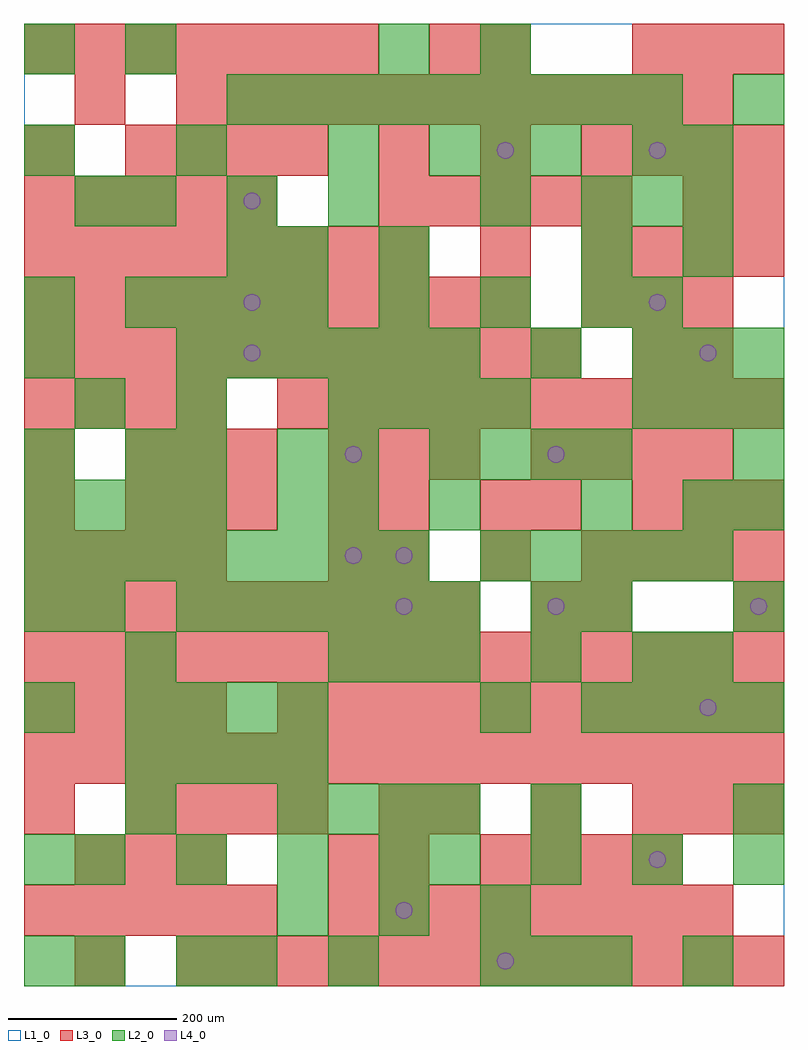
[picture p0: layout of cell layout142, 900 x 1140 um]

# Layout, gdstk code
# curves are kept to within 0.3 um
import gdstk
lib = gdstk.Library(unit=1e-6, precision=1e-09)
def R(c, l, rs):  # rectangles x0, y0, x1, y1
    for r in rs: c.add(gdstk.rectangle(r[:2], r[2:], *l))
def A(c, l, x, y, w, h, nx, ny, dx, dy):  # array of equal rectangles
    R(c, l, [(x+i*dx, y+j*dy, x+i*dx+w, y+j*dy+h) for i in range(nx) for j in range(ny)])
def P(c, l, *ps):  # polygons
    for p in ps: c.add(gdstk.Polygon(p, *l))
L1_0 = (1, 0)
L2_0 = (2, 0)
L3_0 = (3, 0)
L4_0 = (4, 0)

layout142 = lib.new_cell('layout142')
R(layout142, L1_0, [(0,0,900,1140)])
A(layout142, L2_0, 540, 0, 60, 60, 3, 1, 60, 0)
A(layout142, L2_0, 300, 60, 60, 60, 3, 1, 120, 0)
A(layout142, L2_0, 60, 120, 60, 60, 4, 1, 120, 0)
A(layout142, L2_0, 480, 120, 60, 60, 4, 1, 120, 0)
A(layout142, L2_0, 300, 180, 60, 60, 4, 1, 60, 0)
A(layout142, L2_0, 120, 240, 60, 60, 4, 2, 60, 60)
A(layout142, L2_0, 660, 300, 60, 60, 4, 1, 60, 0)
A(layout142, L2_0, 360, 360, 60, 60, 3, 1, 60, 0)
A(layout142, L2_0, 60, 420, 60, 60, 1, 3, 0, 240)
A(layout142, L2_0, 180, 420, 60, 60, 6, 2, 60, 300)
A(layout142, L2_0, 0, 480, 60, 60, 8, 1, 60, 0)
A(layout142, L2_0, 540, 480, 60, 60, 5, 1, 60, 0)
A(layout142, L2_0, 0, 540, 60, 60, 4, 1, 60, 0)
A(layout142, L2_0, 480, 600, 60, 60, 4, 1, 60, 0)
A(layout142, L2_0, 360, 660, 60, 60, 4, 1, 60, 0)
A(layout142, L2_0, 720, 660, 60, 60, 3, 2, 60, 60)
A(layout142, L2_0, 120, 780, 60, 60, 4, 1, 60, 0)
A(layout142, L2_0, 420, 780, 60, 60, 3, 1, 120, 0)
A(layout142, L2_0, 120, 900, 60, 60, 3, 1, 120, 0)
A(layout142, L2_0, 660, 900, 60, 60, 3, 1, 60, 0)
A(layout142, L2_0, 0, 960, 60, 60, 3, 1, 180, 0)
A(layout142, L2_0, 480, 960, 60, 60, 3, 1, 60, 0)
A(layout142, L2_0, 240, 1020, 60, 60, 9, 1, 60, 0)
R(layout142, L2_0, [(0,0,60,60), (60,0,120,60), (180,0,240,60), (240,0,300,60), (360,0,420,60), (780,0,840,60), (0,120,60,180), (120,180,180,240), (600,180,660,240), (840,180,900,240), (0,300,60,360), (540,300,600,360), (120,360,180,420), (600,360,660,420), (720,360,780,420), (780,360,840,420), (0,420,60,480), (600,420,660,480), (660,420,720,480), (840,420,900,480), (300,540,360,600), (360,540,420,600), (480,540,540,600), (660,540,720,600), (780,540,840,600), (840,540,900,600), (0,600,60,660), (120,600,180,660), (180,600,240,660), (300,600,360,660), (360,600,420,660), (840,600,900,660), (180,660,240,720), (0,720,60,780), (600,720,660,780), (0,780,60,840), (720,780,780,840), (240,840,300,900), (300,840,360,900), (420,840,480,900), (660,840,720,900), (780,840,840,900), (540,900,600,960), (720,960,780,1020), (780,960,840,1020), (840,1020,900,1080), (0,1080,60,1140), (120,1080,180,1140), (420,1080,480,1140), (540,1080,600,1140)])
A(layout142, L3_0, 180, 0, 60, 60, 12, 1, 60, 0)
A(layout142, L3_0, 0, 60, 60, 60, 5, 2, 60, 840)
A(layout142, L3_0, 360, 60, 60, 60, 8, 1, 60, 0)
A(layout142, L3_0, 60, 120, 60, 60, 3, 1, 60, 0)
A(layout142, L3_0, 540, 120, 60, 60, 4, 1, 60, 0)
A(layout142, L3_0, 120, 180, 60, 60, 4, 2, 60, 780)
A(layout142, L3_0, 480, 180, 60, 60, 3, 1, 120, 0)
A(layout142, L3_0, 0, 240, 60, 60, 15, 2, 60, 120)
A(layout142, L3_0, 0, 300, 60, 60, 4, 3, 60, 180)
A(layout142, L3_0, 300, 300, 60, 60, 10, 2, 60, 360)
A(layout142, L3_0, 0, 420, 60, 60, 9, 1, 60, 0)
A(layout142, L3_0, 420, 480, 60, 60, 3, 2, 120, 480)
A(layout142, L3_0, 720, 480, 60, 60, 3, 2, 60, 60)
A(layout142, L3_0, 120, 540, 60, 60, 3, 2, 60, 60)
A(layout142, L3_0, 360, 600, 60, 60, 3, 1, 60, 0)
A(layout142, L3_0, 600, 600, 60, 60, 4, 1, 60, 0)
A(layout142, L3_0, 0, 720, 60, 60, 11, 1, 60, 0)
A(layout142, L3_0, 0, 780, 60, 60, 10, 1, 60, 0)
A(layout142, L3_0, 660, 780, 60, 60, 3, 1, 60, 0)
A(layout142, L3_0, 0, 840, 60, 60, 8, 1, 60, 0)
A(layout142, L3_0, 660, 840, 60, 60, 4, 1, 60, 0)
A(layout142, L3_0, 420, 900, 60, 60, 5, 1, 60, 0)
A(layout142, L3_0, 720, 960, 60, 60, 3, 2, 60, 120)
A(layout142, L3_0, 180, 1020, 60, 60, 11, 1, 60, 0)
A(layout142, L3_0, 0, 1080, 60, 60, 7, 1, 60, 0)
R(layout142, L3_0, [(60,0,120,60), (360,120,420,180), (420,120,480,180), (0,180,60,240), (420,180,480,240), (780,180,840,240), (840,180,900,240), (600,420,660,480), (660,420,720,480), (840,420,900,480), (360,480,420,540), (0,540,60,600), (360,540,420,600), (420,540,480,600), (540,540,600,600), (600,540,660,600), (0,600,60,660), (720,720,780,780), (780,720,840,780), (540,840,600,900), (780,900,840,960), (840,900,900,960), (0,960,60,1020), (60,1020,120,1080), (480,1080,540,1140), (540,1080,600,1140)])
P(layout142, L4_0, [(280,750),(279.239,753.827),(277.071,757.071),(273.827,759.239),(270,760),(266.173,759.239),(262.929,757.071),(260.761,753.827),(260,750),(260.761,746.173),(262.929,742.929),(266.173,740.761),(270,740),(273.827,740.761),(277.071,742.929),(279.239,746.173)],
  [(280,810),(279.239,813.827),(277.071,817.071),(273.827,819.239),(270,820),(266.173,819.239),(262.929,817.071),(260.761,813.827),(260,810),(260.761,806.173),(262.929,802.929),(266.173,800.761),(270,800),(273.827,800.761),(277.071,802.929),(279.239,806.173)],
  [(280,930),(279.239,933.827),(277.071,937.071),(273.827,939.239),(270,940),(266.173,939.239),(262.929,937.071),(260.761,933.827),(260,930),(260.761,926.173),(262.929,922.929),(266.173,920.761),(270,920),(273.827,920.761),(277.071,922.929),(279.239,926.173)],
  [(400,510),(399.239,513.827),(397.071,517.071),(393.827,519.239),(390,520),(386.173,519.239),(382.929,517.071),(380.761,513.827),(380,510),(380.761,506.173),(382.929,502.929),(386.173,500.761),(390,500),(393.827,500.761),(397.071,502.929),(399.239,506.173)],
  [(400,630),(399.239,633.827),(397.071,637.071),(393.827,639.239),(390,640),(386.173,639.239),(382.929,637.071),(380.761,633.827),(380,630),(380.761,626.173),(382.929,622.929),(386.173,620.761),(390,620),(393.827,620.761),(397.071,622.929),(399.239,626.173)],
  [(460,90),(459.239,93.827),(457.071,97.071),(453.827,99.239),(450,100),(446.173,99.239),(442.929,97.071),(440.761,93.827),(440,90),(440.761,86.173),(442.929,82.929),(446.173,80.761),(450,80),(453.827,80.761),(457.071,82.929),(459.239,86.173)],
  [(460,450),(459.239,453.827),(457.071,457.071),(453.827,459.239),(450,460),(446.173,459.239),(442.929,457.071),(440.761,453.827),(440,450),(440.761,446.173),(442.929,442.929),(446.173,440.761),(450,440),(453.827,440.761),(457.071,442.929),(459.239,446.173)],
  [(460,510),(459.239,513.827),(457.071,517.071),(453.827,519.239),(450,520),(446.173,519.239),(442.929,517.071),(440.761,513.827),(440,510),(440.761,506.173),(442.929,502.929),(446.173,500.761),(450,500),(453.827,500.761),(457.071,502.929),(459.239,506.173)],
  [(580,30),(579.239,33.827),(577.071,37.071),(573.827,39.239),(570,40),(566.173,39.239),(562.929,37.071),(560.761,33.827),(560,30),(560.761,26.173),(562.929,22.929),(566.173,20.761),(570,20),(573.827,20.761),(577.071,22.929),(579.239,26.173)],
  [(580,990),(579.239,993.827),(577.071,997.071),(573.827,999.239),(570,1000),(566.173,999.239),(562.929,997.071),(560.761,993.827),(560,990),(560.761,986.173),(562.929,982.929),(566.173,980.761),(570,980),(573.827,980.761),(577.071,982.929),(579.239,986.173)],
  [(640,450),(639.239,453.827),(637.071,457.071),(633.827,459.239),(630,460),(626.173,459.239),(622.929,457.071),(620.761,453.827),(620,450),(620.761,446.173),(622.929,442.929),(626.173,440.761),(630,440),(633.827,440.761),(637.071,442.929),(639.239,446.173)],
  [(640,630),(639.239,633.827),(637.071,637.071),(633.827,639.239),(630,640),(626.173,639.239),(622.929,637.071),(620.761,633.827),(620,630),(620.761,626.173),(622.929,622.929),(626.173,620.761),(630,620),(633.827,620.761),(637.071,622.929),(639.239,626.173)],
  [(760,150),(759.239,153.827),(757.071,157.071),(753.827,159.239),(750,160),(746.173,159.239),(742.929,157.071),(740.761,153.827),(740,150),(740.761,146.173),(742.929,142.929),(746.173,140.761),(750,140),(753.827,140.761),(757.071,142.929),(759.239,146.173)],
  [(760,810),(759.239,813.827),(757.071,817.071),(753.827,819.239),(750,820),(746.173,819.239),(742.929,817.071),(740.761,813.827),(740,810),(740.761,806.173),(742.929,802.929),(746.173,800.761),(750,800),(753.827,800.761),(757.071,802.929),(759.239,806.173)],
  [(760,990),(759.239,993.827),(757.071,997.071),(753.827,999.239),(750,1000),(746.173,999.239),(742.929,997.071),(740.761,993.827),(740,990),(740.761,986.173),(742.929,982.929),(746.173,980.761),(750,980),(753.827,980.761),(757.071,982.929),(759.239,986.173)],
  [(820,330),(819.239,333.827),(817.071,337.071),(813.827,339.239),(810,340),(806.173,339.239),(802.929,337.071),(800.761,333.827),(800,330),(800.761,326.173),(802.929,322.929),(806.173,320.761),(810,320),(813.827,320.761),(817.071,322.929),(819.239,326.173)],
  [(820,750),(819.239,753.827),(817.071,757.071),(813.827,759.239),(810,760),(806.173,759.239),(802.929,757.071),(800.761,753.827),(800,750),(800.761,746.173),(802.929,742.929),(806.173,740.761),(810,740),(813.827,740.761),(817.071,742.929),(819.239,746.173)],
  [(880,450),(879.239,453.827),(877.071,457.071),(873.827,459.239),(870,460),(866.173,459.239),(862.929,457.071),(860.761,453.827),(860,450),(860.761,446.173),(862.929,442.929),(866.173,440.761),(870,440),(873.827,440.761),(877.071,442.929),(879.239,446.173)])

lib.write_gds('layout142.gds')
